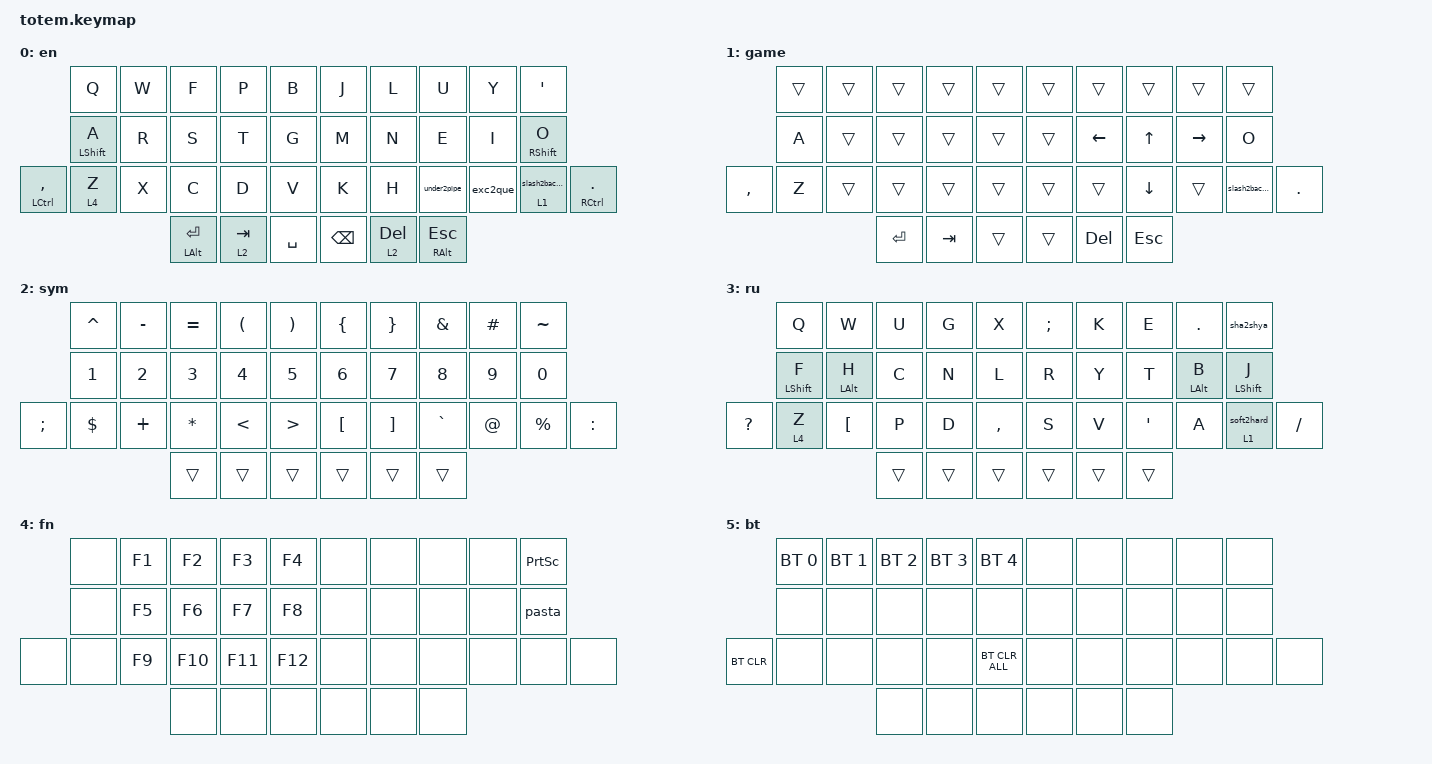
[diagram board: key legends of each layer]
#include <behaviors.dtsi>
#include <dt-bindings/zmk/bt.h>
#include <dt-bindings/zmk/keys.h>

&mt {
    quick-tap-ms = <100>;
    global-quick-tap;
    flavor = "tap-preferred";
    tapping-term-ms = <170>;
};

/ {
    combos {
        compatible = "zmk,combos";

        game_mode {
            bindings = <&tog 1>;
            key-positions = <31 20>;
        };

        esc {
            bindings = <&kp ESC>;
            key-positions = <1 0>;
        };

        ret {
            bindings = <&kp RET>;
            key-positions = <8 9>;
        };

        bt {
            bindings = <&mo 5>;
            key-positions = <9 19 30>;
        };

        ru {
            bindings = <&ru>;
            key-positions = <31 35>;
        };

        en {
            bindings = <&en>;
            key-positions = <20 34>;
        };
    };

    behaviors {
        under2pipe: under2pipe {
            compatible = "zmk,behavior-mod-morph";
            bindings = <&kp UNDERSCORE>, <&kp PIPE>;

            #binding-cells = <0>;
            mods = <(MOD_LSFT)>;
            keep-mods = <(MOD_LSFT)>;
        };

        slash2backslash: slash2backslash {
            compatible = "zmk,behavior-mod-morph";
            bindings = <&kp SLASH>, <&kp BACKSLASH>;

            #binding-cells = <0>;
            mods = <(MOD_LSFT)>;
        };

        sha2shya: sha2shya {
            compatible = "zmk,behavior-tap-dance";
            #binding-cells = <0>;
            bindings = <&kp I>, <&kp O>;
        };

        soft2hard: soft2hard {
            compatible = "zmk,behavior-tap-dance";
            #binding-cells = <0>;
            bindings = <&kp M>, <&kp RIGHT_BRACKET>;
        };

        e2yo: e2yo {
            compatible = "zmk,behavior-tap-dance";
            #binding-cells = <0>;
            bindings = <&kp T>, <&kp GRAVE>;
        };

        period2colon: period2colon {
            compatible = "zmk,behavior-mod-morph";
            bindings = <&kp PERIOD>, <&kp COLON>;

            #binding-cells = <0>;
            mods = <(MOD_LSFT)>;
        };

        comma2semi: comma2semi {
            compatible = "zmk,behavior-mod-morph";
            bindings = <&kp COMMA>, <&kp SEMI>;

            #binding-cells = <0>;
            mods = <(MOD_LSFT)>;
        };

        exc2que: exc2que {
            compatible = "zmk,behavior-mod-morph";
            bindings = <&kp EXCLAMATION>, <&kp QUESTION>;

            #binding-cells = <0>;
            mods = <(MOD_LSFT)>;
        };

        slash2backslash_game: slash2backslash_game {
            compatible = "zmk,behavior-hold-tap";
            bindings = <&mo>, <&slash2backslash>;

            #binding-cells = <2>;
            tapping-term-ms = <170>;
            quick-tap-ms = <100>;
            flavor = "tap-preferred";
        };

        soft2hard_game: soft2hard_game {
            compatible = "zmk,behavior-hold-tap";
            bindings = <&mo>, <&soft2hard>;

            #binding-cells = <2>;
            tapping-term-ms = <170>;
            quick-tap-ms = <100>;
            flavor = "tap-preferred";
        };
    };

    macros {
        en: en {
            compatible = "zmk,behavior-macro";
            #binding-cells = <0>;
            bindings = <&kp LA(LS(NUMBER_1)) &to 0>;
        };

        ru: ru {
            compatible = "zmk,behavior-macro";
            #binding-cells = <0>;
            bindings = <&kp LA(LS(NUMBER_2)) &to 3>;
        };

        pasta: pasta {
            compatible = "zmk,behavior-macro";
            #binding-cells = <0>;
            bindings = <&kp M &kp N &kp E &kp SPACE &kp P &kp R &kp O &kp S &kp T &kp O &kp SPACE &kp T &kp O &kp S &kp H &kp N &kp O &kp SPACE &kp O &kp T &kp SPACE &kp T &kp A &kp K &kp I &kp H &kp SPACE &kp D &kp O &kp L &kp B &kp A &kp E &kp B &kp O &kp V &kp SPACE &kp K &kp A &kp K &kp SPACE &kp T &kp I &kp SPACE &kp COLON &kp RPAR>;
            wait-ms = <20>;
            tap-ms = <20>;
        };
    };

    keymap {
        compatible = "zmk,keymap";

        en {
            bindings = <
                        &kp Q             &kp W  &kp F             &kp P      &kp B        &kp J     &kp L      &kp U              &kp Y     &kp APOS
                        &mt LEFT_SHIFT A  &kp R  &kp S             &kp T      &kp G        &kp M     &kp N      &kp E              &kp I     &mt RIGHT_SHIFT O
&mt LEFT_CONTROL COMMA  &lt 4 Z           &kp X  &kp C             &kp D      &kp V        &kp K     &kp H      &under2pipe        &exc2que  &slash2backslash_game 1 0  &mt RIGHT_CONTROL PERIOD
                                                 &mt LEFT_ALT RET  &lt 2 TAB  &kp SPACE    &kp BSPC  &lt 2 DEL  &mt RIGHT_ALT ESC
            >;
        };

        game {
            bindings = <
           &trans  &trans  &trans   &trans   &trans    &trans  &trans    &trans      &trans     &trans
           &kp A   &trans  &trans   &trans   &trans    &trans  &kp LEFT  &kp UP      &kp RIGHT  &kp O
&kp COMMA  &kp Z   &trans  &trans   &trans   &trans    &trans  &trans    &kp DOWN    &trans     &slash2backslash  &kp PERIOD
                           &kp RET  &kp TAB  &trans    &trans  &kp DEL   &kp ESCAPE
            >;
        };

        sym {
            bindings = <
          &kp CARET   &kp MINUS  &kp EQUAL  &kp LEFT_PARENTHESIS  &kp RIGHT_PARENTHESIS    &kp LEFT_BRACE    &kp RIGHT_BRACE    &kp AMPERSAND  &kp POUND    &kp TILDE
          &kp N1      &kp N2     &kp N3     &kp N4                &kp N5                   &kp N6            &kp N7             &kp N8         &kp N9       &kp N0
&kp SEMI  &kp DOLLAR  &kp PLUS   &kp ASTRK  &kp LESS_THAN         &kp GREATER_THAN         &kp LEFT_BRACKET  &kp RIGHT_BRACKET  &kp GRAVE      &kp AT_SIGN  &kp PERCENT  &kp COLON
                                 &trans     &trans                &trans                   &trans            &trans             &trans
            >;
        };

        ru {
            bindings = <
              &kp Q             &kp W           &kp U   &kp G   &kp X        &kp SEMI  &kp K   &kp E     &kp DOT         &sha2shya
              &mt LEFT_SHIFT F  &mt LEFT_ALT H  &kp C   &kp N   &kp L        &kp R     &kp Y   &kp T     &mt LEFT_ALT B  &mt LEFT_SHIFT J
&kp QUESTION  &lt 4 Z           &kp LBKT        &kp P   &kp D   &kp COMMA    &kp S     &kp V   &kp APOS  &kp A           &soft2hard_game 1 0  &kp SLASH
                                                &trans  &trans  &trans       &trans    &trans  &trans
            >;
        };

        fn {
            bindings = <
       &none  &kp F1  &kp F2   &kp F3   &kp F4     &none  &none  &none  &none  &kp PRINTSCREEN
       &none  &kp F5  &kp F6   &kp F7   &kp F8     &none  &none  &none  &none  &pasta
&none  &none  &kp F9  &kp F10  &kp F11  &kp F12    &none  &none  &none  &none  &none            &none
                      &none    &none    &none      &none  &none  &none
            >;
        };

        bt {
            bindings = <
            &bt BT_SEL 0  &bt BT_SEL 1  &bt BT_SEL 2  &bt BT_SEL 3  &bt BT_SEL 4      &none  &none  &none  &none  &none
            &none         &none         &none         &none         &none             &none  &none  &none  &none  &none
&bt BT_CLR  &none         &none         &none         &none         &bt BT_CLR_ALL    &none  &none  &none  &none  &none  &none
                                        &none         &none         &none             &none  &none  &none
            >;
        };
    };
};
